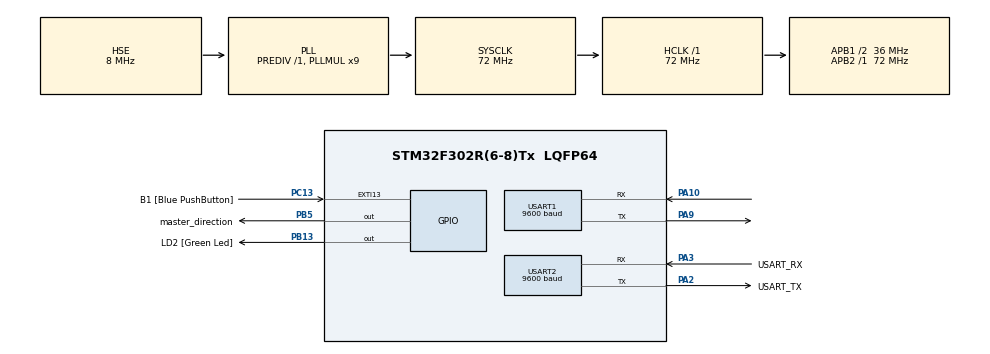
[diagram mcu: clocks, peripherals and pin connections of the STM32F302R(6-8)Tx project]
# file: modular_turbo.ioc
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Mcu.Family=STM32F3
Mcu.Name=STM32F302R(6-8)Tx
Mcu.Package=LQFP64
NVIC.PriorityGroup=NVIC_PRIORITYGROUP_0
NVIC.USART1_IRQn=true\:0\:0\:false\:false\:true\:true\:true\:true
NVIC.USART2_IRQn=true\:0\:0\:false\:false\:true\:true\:true\:true
PA10.GPIO_PuPd=GPIO_NOPULL
PA10.Mode=Asynchronous
PA10.Signal=USART1_RX
PA13.GPIO_Label=TMS
PA13.Mode=Serial_Wire
PA13.Signal=SYS_JTMS-SWDIO
PA14.GPIO_Label=TCK
PA14.Mode=Serial_Wire
PA14.Signal=SYS_JTCK-SWCLK
PA2.GPIO_Label=USART_TX
PA2.GPIO_Mode=GPIO_MODE_AF_PP
PA2.GPIO_PuPd=GPIO_NOPULL
PA2.GPIO_Speed=GPIO_SPEED_FREQ_LOW
PA2.Mode=Asynchronous
PA2.Signal=USART2_TX
PA3.GPIO_Label=USART_RX
PA3.GPIO_Mode=GPIO_MODE_AF_PP
PA3.GPIO_PuPd=GPIO_NOPULL
PA3.GPIO_Speed=GPIO_SPEED_FREQ_LOW
PA3.Mode=Asynchronous
PA3.Signal=USART2_RX
PA9.Mode=Asynchronous
PA9.Signal=USART1_TX
PB13.GPIO_Label=LD2 [Green Led]
PB13.Signal=GPIO_Output
PB3.GPIO_Label=SWO
PB3.Mode=Trace_Asynchronous_SW
PB3.Signal=SYS_JTDO-TRACESWO
PB5.GPIO_Label=master_direction
PB5.Signal=GPIO_Output
PC13.GPIO_Label=B1 [Blue PushButton]
PC13.GPIO_ModeDefaultEXTI=GPIO_MODE_IT_FALLING
PC13.Signal=GPXTI13
PC14\ -\ OSC32_IN.Mode=LSE-External-Oscillator
PC14\ -\ OSC32_IN.Signal=RCC_OSC32_IN
PC15\ -\ OSC32_OUT.Mode=LSE-External-Oscillator
PC15\ -\ OSC32_OUT.Signal=RCC_OSC32_OUT
PF0-OSC_IN.Mode=HSE-External-Clock-Source
PF0-OSC_IN.Signal=RCC_OSC_IN
PF1-OSC_OUT.Signal=RCC_OSC_OUT
ProjectManager.HeapSize=0x200
ProjectManager.StackSize=0x400
ProjectManager.TargetToolchain=STM32CubeIDE
RCC.AHBFreq_Value=72000000
RCC.APB1CLKDivider=RCC_HCLK_DIV2
RCC.APB1Freq_Value=36000000
RCC.APB1TimFreq_Value=72000000
RCC.APB2Freq_Value=72000000
RCC.APB2TimFreq_Value=72000000
RCC.CortexFreq_Value=72000000
RCC.HCLKFreq_Value=72000000
RCC.HSE_VALUE=8000000
RCC.HSI_VALUE=8000000
RCC.PLLM=8
RCC.PLLMUL=RCC_PLL_MUL9
RCC.PLLN=336
RCC.PLLP=RCC_PLLP_DIV4
RCC.PLLQ=7
RCC.PLLSourceVirtual=RCC_PLLSOURCE_HSE
RCC.SYSCLKFreq_VALUE=72000000
RCC.SYSCLKSourceVirtual=RCC_SYSCLKSOURCE_PLLCLK
RCC.USBFreq_Value=72000000
USART1.BaudRate=9600
USART1.VirtualMode-Asynchronous=VM_ASYNC
USART2.BaudRate=9600
USART2.VirtualMode-Asynchronous=VM_ASYNC
board=NUCLEO-F302R8

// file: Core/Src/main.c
/* USER CODE BEGIN Header */
/**
  ******************************************************************************
  * @file           : main.c
  * @brief          : Main program body
  ******************************************************************************
  * @attention
  *
  * Copyright (c) 2025 STMicroelectronics.
  * All rights reserved.
  *
  * This software is licensed under terms that can be found in the LICENSE file
  * in the root directory of this software component.
  * If no LICENSE file comes with this software, it is provided AS-IS.
  *
  ******************************************************************************
  */
/* USER CODE END Header */
#include "main.h"

/* USER CODE BEGIN Includes */
#include "pfeiffer_protocol.h"
#include <string.h>
#include <stdio.h>
/* USER CODE END Includes */

/* USER CODE BEGIN PD */
#define SLAVE_ADDR 1
#define QUERY_ACTION_CHAR "00"	//a c-literal is already null-terminated. we need null-terminated for sprintf in build_telegram()
#define CTRL_ACTION_CHAR "10"
#define QUERY_DATA_LENGTH 2
#define QUERY_DATA "=?"
#define STM_ERROR_LENGTH 15
#define STM_ERROR_DATA "STM32 Rx Error!"
#define ERROR_PARAM 0
/* USER CODE END PD */

UART_HandleTypeDef huart1;
UART_HandleTypeDef huart2;

/* USER CODE BEGIN PV */
char rxdata[32]={0}; //for huart1
char rxdata2[32]={0}; //for huart2
size_t count = 0;
uint16_t rxlen;
uint16_t rxcnt=0;
volatile bool receive_flag=false, transmit_ready=false;

//char *assembled_telegram, *received_telegram;
char telegram[32], received_telegram[32];
int param;
int data_length;
char data_to_send[16]; //max size of data that can be sent is 16

Telegram parsed_telegram;
uint8_t rxByte;
uint16_t rxIndex = 0;

//-------below variables for looping messages.
volatile bool next=false, wait = false;
char messages[12][4] = {"326","303","360","361","362","363","364","365","366","367","368","369"};
int message_index = 0;
/* USER CODE END PV */

void SystemClock_Config(void);
static void MX_GPIO_Init(void);
static void MX_USART2_UART_Init(void);
static void MX_USART1_UART_Init(void);

/* USER CODE BEGIN 0 */

void HAL_UARTEx_RxEventCallback(UART_HandleTypeDef *huart, uint16_t Size) //for the ReceiveToIdle_IT func.
{
    if (huart->Instance == USART2)  // Change if using a different UART
    {
        rxlen = Size;
        rxcnt++;
        receive_flag = true;
        HAL_UARTEx_ReceiveToIdle_IT(&huart2, (uint8_t*)rxdata2, sizeof(rxdata2));
    }

}

void HAL_UART_TxCpltCallback(UART_HandleTypeDef *huart)
{
    if (huart->Instance == USART1) {
        // Transmission complete for huart1
		//master max3485 receiving
		HAL_GPIO_WritePin(GPIOB, master_direction_Pin, GPIO_PIN_RESET);

    }
    if (huart->Instance == USART2) {
		// Transmission complete for huart1

		free_telegram_memory(parsed_telegram);

		//-------below is for looping mechanism
//		if(message_index == 12){
//			next = true;
//			message_index = 0;
//			strcpy(rxdata2, messages[message_index]);
//		}
//		else{
//			wait = true;
//			message_index++;
//			strcpy(rxdata2, messages[message_index]);
//		}
	}
}

void HAL_UART_RxCpltCallback(UART_HandleTypeDef *huart)
{
    rxdata[rxIndex++] = rxByte;

    // Your custom termination logic here
    if (rxByte == '\r' || rxIndex >= sizeof(rxdata)) {
        // Process complete message
    	rxdata[rxIndex] ='\0';  // \r has already been added. so now we end the str with \0
    	transmit_ready = true;
        rxIndex = 0;
    }

    // Restart single byte reception
    HAL_UART_Receive_IT(&huart1, &rxByte, 1);
}
/* USER CODE END 0 */

int main(void)
{

  /* MCU Configuration--------------------------------------------------------*/

  /* Reset of all peripherals, Initializes the Flash interface and the Systick. */
  HAL_Init();

  /* Configure the system clock */
  SystemClock_Config();

  /* Initialize all configured peripherals */
  MX_GPIO_Init();
  MX_USART2_UART_Init();
  MX_USART1_UART_Init();
  /* USER CODE BEGIN 2 */

  HAL_GPIO_WritePin(LD2_GPIO_Port, LD2_Pin, GPIO_PIN_RESET);

  HAL_UARTEx_ReceiveToIdle_IT(&huart2, (uint8_t*)rxdata2, sizeof(rxdata2));   //comment this line out for the looping method.
  HAL_UART_Receive_IT(&huart1, &rxByte, 1);

  //-------first iteration for the looping method. Uncomment these two lines for the looping method.
//  strcpy(rxdata2, messages[message_index]);
//  receive_flag=true;

  /* USER CODE END 2 */

  /* Infinite loop */
  /* USER CODE BEGIN WHILE */
  while (1)
  {
	  if(next){					//'next' and 'wait' flags are for the looping method and will not affect anything if its kept there.
		  HAL_Delay(2000);
		  receive_flag=true;
	  }

	  if(wait){
		  HAL_Delay(1500);
		  receive_flag = true;
	  }

	  if(transmit_ready){
		  transmit_ready = false;

		  if(rxdata[0] =='\0'){
				// The new string is a pointer to the non-null character
				for (size_t i = 0; i < sizeof(rxdata) && rxdata[i] == '\0'; i++) {
				  count++;
				}
				char* newString = &rxdata[count];
				strcpy(rxdata, newString);

				parsed_telegram = parse_telegram(rxdata);
			}
			else{
				parsed_telegram = parse_telegram(rxdata);
			}

			if (parsed_telegram.error_code == 0){
				 build_telegram(parsed_telegram.slave_address, parsed_telegram.action_char, parsed_telegram.param_number, parsed_telegram.data_length, parsed_telegram.command_str);
			}
			else{
				build_telegram(parsed_telegram.slave_address, "10\0", parsed_telegram.param_number, parsed_telegram.data_length, parsed_telegram.command_str);
			}

			HAL_UART_Transmit_IT(&huart2, (uint8_t*)received_telegram, strlen(telegram)); //works

			memset(rxdata, 0, sizeof(rxdata));
			count=0;
		}

	  if (receive_flag){
		  wait=false;
		  next = false;
		  receive_flag = false;

		  if(rxlen<=4){
			  sscanf((char*)rxdata2, "%d", &param);
			  build_telegram(SLAVE_ADDR, QUERY_ACTION_CHAR, param, QUERY_DATA_LENGTH, QUERY_DATA);
		  }
		  else{
			  sscanf((char*)rxdata2, "%d,%s", &param, data_to_send);
			  build_telegram(SLAVE_ADDR, CTRL_ACTION_CHAR, param, strlen(data_to_send), data_to_send);
		  }

		HAL_GPIO_WritePin(GPIOB, master_direction_Pin, GPIO_PIN_SET);
		HAL_Delay(200);
	    HAL_UART_Transmit_IT(&huart1, (uint8_t*)telegram, strlen(telegram));//works

	  }

    /* USER CODE END WHILE */

  }
}

void SystemClock_Config(void)
{
  RCC_OscInitTypeDef RCC_OscInitStruct = {0};
  RCC_ClkInitTypeDef RCC_ClkInitStruct = {0};
  RCC_PeriphCLKInitTypeDef PeriphClkInit = {0};

  /** Initializes the RCC Oscillators according to the specified parameters
  * in the RCC_OscInitTypeDef structure.
  */
  RCC_OscInitStruct.OscillatorType = RCC_OSCILLATORTYPE_HSE;
  RCC_OscInitStruct.HSEState = RCC_HSE_BYPASS;
  RCC_OscInitStruct.HSEPredivValue = RCC_HSE_PREDIV_DIV1;
  RCC_OscInitStruct.HSIState = RCC_HSI_ON;
  RCC_OscInitStruct.PLL.PLLState = RCC_PLL_ON;
  RCC_OscInitStruct.PLL.PLLSource = RCC_PLLSOURCE_HSE;
  RCC_OscInitStruct.PLL.PLLMUL = RCC_PLL_MUL9;
  if (HAL_RCC_OscConfig(&RCC_OscInitStruct) != HAL_OK)
  {
    Error_Handler();
  }

  /** Initializes the CPU, AHB and APB buses clocks
  */
  RCC_ClkInitStruct.ClockType = RCC_CLOCKTYPE_HCLK|RCC_CLOCKTYPE_SYSCLK
                              |RCC_CLOCKTYPE_PCLK1|RCC_CLOCKTYPE_PCLK2;
  RCC_ClkInitStruct.SYSCLKSource = RCC_SYSCLKSOURCE_PLLCLK;
  RCC_ClkInitStruct.AHBCLKDivider = RCC_SYSCLK_DIV1;
  RCC_ClkInitStruct.APB1CLKDivider = RCC_HCLK_DIV2;
  RCC_ClkInitStruct.APB2CLKDivider = RCC_HCLK_DIV1;

  if (HAL_RCC_ClockConfig(&RCC_ClkInitStruct, FLASH_LATENCY_2) != HAL_OK)
  {
    Error_Handler();
  }
  PeriphClkInit.PeriphClockSelection = RCC_PERIPHCLK_USART1;
  PeriphClkInit.Usart1ClockSelection = RCC_USART1CLKSOURCE_PCLK1;
  if (HAL_RCCEx_PeriphCLKConfig(&PeriphClkInit) != HAL_OK)
  {
    Error_Handler();
  }
}

static void MX_USART1_UART_Init(void)
{

  huart1.Instance = USART1;
  huart1.Init.BaudRate = 9600;
  huart1.Init.WordLength = UART_WORDLENGTH_8B;
  huart1.Init.StopBits = UART_STOPBITS_1;
  huart1.Init.Parity = UART_PARITY_NONE;
  huart1.Init.Mode = UART_MODE_TX_RX;
  huart1.Init.HwFlowCtl = UART_HWCONTROL_NONE;
  huart1.Init.OverSampling = UART_OVERSAMPLING_16;
  huart1.Init.OneBitSampling = UART_ONE_BIT_SAMPLE_DISABLE;
  huart1.AdvancedInit.AdvFeatureInit = UART_ADVFEATURE_NO_INIT;
  if (HAL_UART_Init(&huart1) != HAL_OK)
  {
    Error_Handler();
  }

}

static void MX_USART2_UART_Init(void)
{

  huart2.Instance = USART2;
  huart2.Init.BaudRate = 9600;
  huart2.Init.WordLength = UART_WORDLENGTH_8B;
  huart2.Init.StopBits = UART_STOPBITS_1;
  huart2.Init.Parity = UART_PARITY_NONE;
  huart2.Init.Mode = UART_MODE_TX_RX;
  huart2.Init.HwFlowCtl = UART_HWCONTROL_NONE;
  huart2.Init.OverSampling = UART_OVERSAMPLING_16;
  huart2.Init.OneBitSampling = UART_ONE_BIT_SAMPLE_DISABLE;
  huart2.AdvancedInit.AdvFeatureInit = UART_ADVFEATURE_NO_INIT;
  if (HAL_UART_Init(&huart2) != HAL_OK)
  {
    Error_Handler();
  }

}

static void MX_GPIO_Init(void)
{
  GPIO_InitTypeDef GPIO_InitStruct = {0};

  /* GPIO Ports Clock Enable */
  __HAL_RCC_GPIOC_CLK_ENABLE();
  __HAL_RCC_GPIOF_CLK_ENABLE();
  __HAL_RCC_GPIOA_CLK_ENABLE();
  __HAL_RCC_GPIOB_CLK_ENABLE();

  /*Configure GPIO pin Output Level */
  HAL_GPIO_WritePin(GPIOB, LD2_Pin|master_direction_Pin, GPIO_PIN_RESET);

  /*Configure GPIO pin : B1_Pin */
  GPIO_InitStruct.Pin = B1_Pin;
  GPIO_InitStruct.Mode = GPIO_MODE_IT_FALLING;
  GPIO_InitStruct.Pull = GPIO_NOPULL;
  HAL_GPIO_Init(B1_GPIO_Port, &GPIO_InitStruct);

  /*Configure GPIO pins : LD2_Pin master_direction_Pin */
  GPIO_InitStruct.Pin = LD2_Pin|master_direction_Pin;
  GPIO_InitStruct.Mode = GPIO_MODE_OUTPUT_PP;
  GPIO_InitStruct.Pull = GPIO_NOPULL;
  GPIO_InitStruct.Speed = GPIO_SPEED_FREQ_LOW;
  HAL_GPIO_Init(GPIOB, &GPIO_InitStruct);

}

void Error_Handler(void)
{
  __disable_irq();
  while (1)
  {
  }
}
